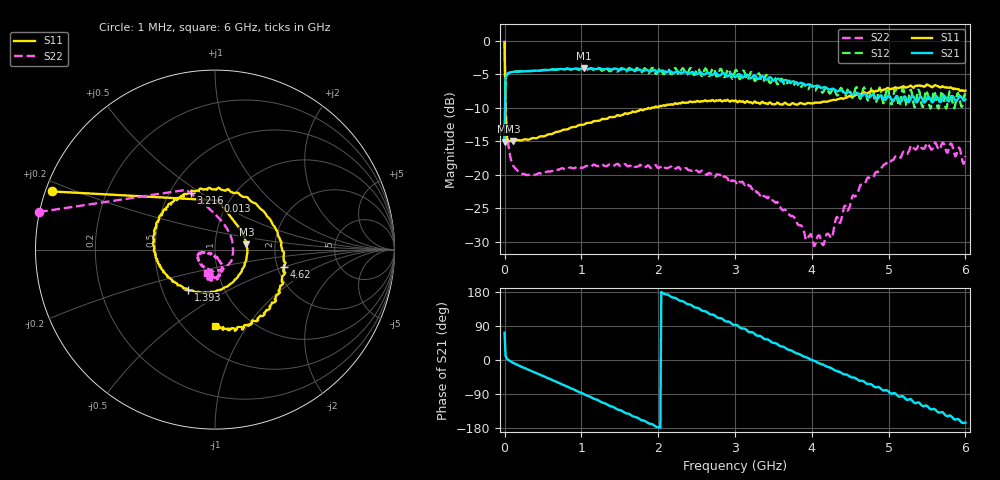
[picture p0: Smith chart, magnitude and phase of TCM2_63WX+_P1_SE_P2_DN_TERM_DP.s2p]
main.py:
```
import re
import matplotlib.pyplot as plt
import skrf as rf

MEAS1 = r'TCM2_63WX+_P1_SE_P2_DN_TERM_DP.s2p'
MEAS2 = r'TCM2_63WX+_P1_SE_P2_DP_TERM_DN.s2p'

for file in [MEAS1,MEAS2]:
    with open(file, encoding='cp1252') as f:
        for line in f:
            print(line.rstrip())
            if re.search('#', line):
                break
            else:
                pass
    print('\n')

sedat_1 = rf.Network(MEAS1)
sedat_2 = rf.Network(MEAS2)


sedat_1.plot_s_db() #S11
sedat_2.plot_s_db(linestyle = '--',linewidth = 3) #S11

plt.minorticks_on()
plt.grid(visible=True, which='major', color='black', linestyle='-')
plt.grid(visible=True, which='minor', color='grey', linestyle='--')
plt.show()
```
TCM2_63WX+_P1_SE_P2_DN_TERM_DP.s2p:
# GHZ S DB R 50.000000000000
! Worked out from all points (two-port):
!   501 points, 1 MHz to 6 GHz, reference 50 ohm
!   highest |S21| = -4.15 dB at 1.033 GHz (marker M1); lowest = -15.1 dB at 1 MHz (marker M2)
!   |S21| within 3 dB of the highest: 10.98 MHz to 4.203 GHz (4.192 GHz wide, 199 % of centre)
!   lowest |S11| = -15.0 dB at 109 MHz (marker M3), VSWR 1.43, Z = 71 + j4.2 ohm
!   |S11| at or under -10 dB: 11.64 MHz to 1.918 GHz (1.907 GHz wide, 198 % of centre); 1.940017 GHz to 1.94633 GHz (6.314 MHz wide, 0.325 % of centre)
!   |S22| runs from -30.7 to 0.0 dB; largest |S21 - S12| = 0.074
!   S11 on the Smith chart (normalised r, x): 1 MHz: 0.02, +0.17; 13 MHz: 0.89, +0.53; 1.393 GHz: 0.68, -0.33; 3.216 GHz: 0.64, +0.46; 4.62 GHz: 2.16, -0.50; 6 GHz: 0.69, -0.72
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0.001  -0.32 160.4  -15.09 71.8  -15.02 74.9  0.02 167.9
0.012998  -11.24 86.3  -5.55 11.9  -5.54 12.1  -8.65 115.7
0.108982  -15.04 9.3  -4.68 -7.3  -4.66 -7.2  -18.57 45.1
1.032828  -12.52 -95.7  -4.15 -89.9  -4.16 -90.6  -18.91 -62.4
1.392768  -11.44 -123.5  -4.31 -122.5  -4.44 -120.7  -18.58 -89.7
2.22063  -9.34 -179.1  -4.73 163.9  -4.08 164.8  -19.13 -139.1
3.0005  -8.92 129.3  -5.44 92.4  -4.53 94.6  -20.96 -167.2
3.216464  -9.27 112.8  -5.55 73.5  -4.73 69.8  -22.02 -167.2
4.032328  -9.28 40.0  -6.80 -2.1  -7.42 -2.9  -30.66 -131.8
4.62023  -8.09 -14.4  -8.11 -54.6  -8.53 -53.7  -21.94 -68.0
6  -7.47 -90.2  -8.78 -165.3  -7.81 -166.8  -17.24 -108.6
